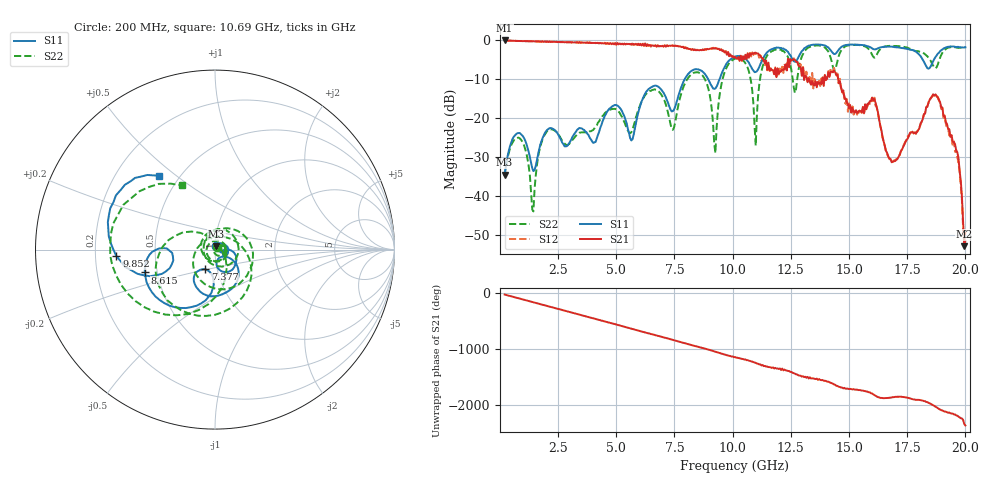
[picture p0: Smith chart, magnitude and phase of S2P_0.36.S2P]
!Agilent Technologies,E5071C,MY46108981,A.11.08
!Date: Sat Oct 19 16:26:18 2019
!Data & Calibration Information:
!Freq	S11:SOLT2(ON)	S21:SOLT2(ON)	S12:SOLT2(ON)	S22:SOLT2(ON)
!PortZ  Port1:50+j0  Port2:50+j0
!Above PortZ is port z conversion or system Z0 setting when saving the data.
!When reading, reference impedance value at option line is always used.
# Hz S RI R 50
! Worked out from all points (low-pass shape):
!   401 points, 200 MHz to 20 GHz, reference 50 ohm
!   highest |S21| = -0.07 dB at 200 MHz (marker M1); lowest = -52.9 dB at 19.95 GHz (marker M2)
!   |S21| within 3 dB of the highest: start of sweep to 9.645 GHz; 9.670891 GHz to 9.714697 GHz (43.81 MHz wide, 0.452 % of centre)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
!   lowest |S11| = -34.5 dB at 200 MHz (marker M3), VSWR 1.04, Z = 50.6 + j1.77 ohm
!   |S11| at or under -10 dB: start of sweep to 7.94 GHz; 8.946 GHz to 9.437 GHz (491.2 MHz wide, 5.34 % of centre)
!   |S22| runs from -44.0 to -1.2 dB; largest |S21 - S12| = 0.086
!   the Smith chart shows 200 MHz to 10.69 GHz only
!   S11 on the Smith chart (normalised r, x): 200 MHz: 1.01, +0.04; 7.377 GHz: 0.88, -0.19; 8.615 GHz: 0.43, -0.13; 9.852 GHz: 0.29, -0.03; 10.69 GHz: 0.39, +0.44
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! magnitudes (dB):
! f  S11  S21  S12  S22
! 200 MHz  -34.5  -0.1  -0.1  -34.8
! 843.5 MHz  -23.8  -0.2  -0.2  -25.2
! 1.437 GHz  -33.6  -0.3  -0.3  -44.0
! 1.982 GHz  -23.4  -0.4  -0.4  -23.8
! 3.516 GHz  -22.6  -0.6  -0.6  -23.6
! 6.833 GHz  -12.1  -1.6  -1.5  -13.2
! 7.377 GHz  -18.3  -1.4  -1.5  -22.7
! 8.615 GHz  -7.7  -2.5  -2.5  -8.6
! 9.258 GHz  -12.4  -2.2  -2.0  -29.0
! 9.852 GHz  -5.2  -4.1  -4.1  -5.9
! 10.1 GHz  -4.2  -4.2  -4.4  -4.7
! 10.69 GHz  -5.7  -4.5  -4.6  -7.9
! 10.99 GHz  -8.2  -3.2  -3.6  -27.0
! 11.54 GHz  -2.9  -5.8  -6.1  -3.5
! 12.67 GHz  -5.5  -5.0  -5.1  -13.5
! 13.42 GHz  -1.2  -10.5  -8.4  -1.5
! 16.04 GHz  -2.3  -15.4  -16.2  -4.2
! 16.73 GHz  -1.7  -30.3  -30.4  -1.5
! 18.76 GHz  -3.9  -14.3  -14.5  -7.0
! 19.6 GHz  -1.8  -28.3  -28.1  -1.8
! 19.95 GHz  -1.9  -52.9  -51.7  -1.8
! 20 GHz  -1.8  -51.5  -49.2  -1.8
